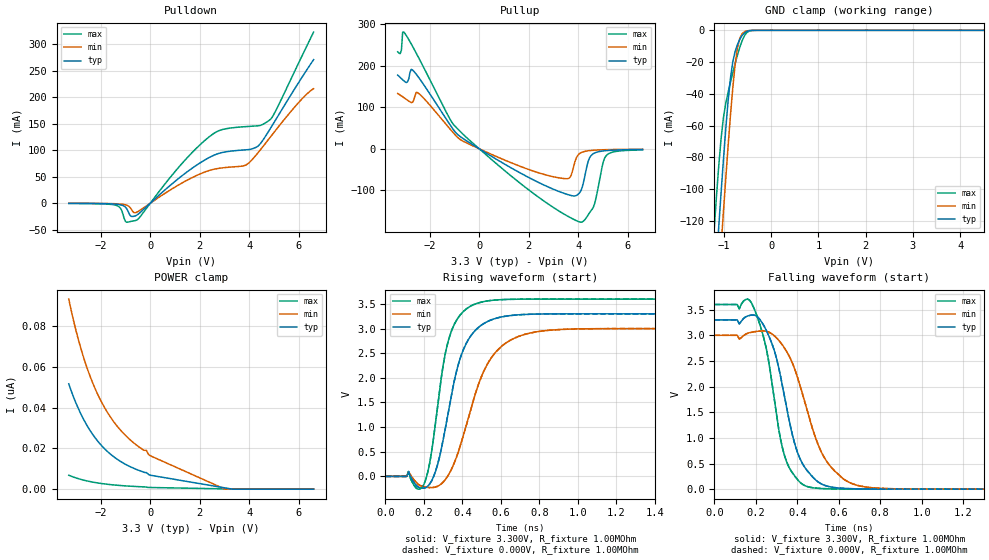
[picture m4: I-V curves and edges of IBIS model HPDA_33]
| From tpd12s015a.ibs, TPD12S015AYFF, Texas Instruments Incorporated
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[Model]   HPDA_33
Model_type   I/O
Vinl = 0.4V
Vinh = 1.0V
Vmeas = 1.500V
Vref = 0V
Cref =15pF
|   typ   min   max
|3-state
C_comp   1.7706pF   1.6054pF   2.0294pF
|pulldown
|C_comp   1.8194pF   1.5857pF   2.1620pF
|pullup
|C_comp   1.7863pF   1.5802pF   2.1259pF
[Voltage Range]   3.300V   3.000V   3.600V
|Junction temperature
[Temperature Range]   40.0   100.0   -40.0
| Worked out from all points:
|   slope of the pulldown table from 0 to 0.495 V, typ, clamps not added: 23.5 ohm
|   slope of the pullup table from 0 to 0.495 V, typ, clamps not added: 27.4 ohm
|   GND clamp passes 1 mA (typ) near -0.53 V on its own axis
|   falling waveform, V_fixture 3.300V, R_fixture 1.00MOhm: 20-80 % time 113ps typ, 151ps min, 91.6ps max; typ from 3.3 V to 0 V
|   rising waveform, V_fixture 3.300V, R_fixture 1.00MOhm: 20-80 % time 117ps typ, 162ps min, 89ps max; typ from 0 V to 3.3 V
|   rising waveform, V_fixture 0.000V, R_fixture 1.00MOhm: 20-80 % time 117ps typ, 162ps min, 89ps max; typ from 0 V to 3.3 V
|   falling waveform, V_fixture 0.000V, R_fixture 1.00MOhm: 20-80 % time 113ps typ, 151ps min, 91.6ps max; typ from 3.3 V to 0 V
|ambient temperature   25   85   -40
[Pulldown]
|   Voltage   I(typ)   I(min)   I(max)
-3.3V     -391uA     -285uA     -527uA
-1.41V    -1.95mA    -1.198mA   -3.883mA
-1.211V   -3.189mA   -1.754mA   -9.597mA
-961.8mV  -10.24mA   -3.813mA   -36.03mA
-762.8mV  -25.12mA   -12.16mA   -34.27mA
-514.1mV  -21.65mA   -16.26mA   -30.78mA
1.177V    47.93mA    35.3mA     69.48mA
2.371V    85.92mA    61.49mA    125mA
3.864V    100.7mA    72.03mA    144.6mA
4.361V    108.1mA    95.71mA    146.1mA
4.859V    141.5mA    125.2mA    158.4mA
6.6V      271mA      216.2mA    323.1mA
[GND Clamp]
|   Voltage   I(typ)   I(min)   I(max)
-3.3V     -1.186A    -1.22A     -1.144A
-1.211V   -169.5mA   -204.8mA   -127.5mA
-1.111V   -124.7mA   -159.3mA   -86.27mA
-1.061V   -103.1mA   -137mA     -68.77mA
-1.012V   -82.28mA   -115.2mA   -55.34mA
-912.1mV  -44.94mA   -73.37mA   -39.23mA
-812.6mV  -19.97mA   -36.53mA   -26.78mA
-713.1mV  -8.993mA   -11.15mA   -15.56mA
-663.3mV  -5.661mA   -5.005mA   -10.67mA
-563.8mV  -1.565mA   -864.6uA   -3.359mA
-364.8mV  -27.29uA   -19.88uA   -28.06uA
6.6V      0A         0A         0A
[Pullup]
|   Voltage   I(typ)   I(min)   I(max)
-3.3V     177.7mA    133.3mA    233.7mA
-3.151V   169.2mA    127.5mA    237.8mA
-3.051V   163.8mA    123.4mA    281.3mA
-2.703V   190mA      112.1mA    247.3mA
-2.454V   172mA      133.6mA    219.5mA
-1.061V   47.37mA    39.35mA    59.93mA
2.123V    -72.8mA    -52.26mA   -104.5mA
3.615V    -110.8mA   -70.96mA   -163.5mA
4.013V    -108.3mA   -13.48mA   -175.3mA
4.61V     -11.58mA   -3.356mA   -140.7mA
5.157V    -4.116mA   -1.942mA   -14.77mA
6.6V      -1.493mA   -912uA     -2.304mA
[POWER Clamp]
|   Voltage   I(typ)   I(min)   I(max)
-3.3V     51.61nA    93.19nA    6.828nA
-3.002V   42nA       77.47nA    5.491nA
-2.703V   34.29nA    64.67nA    4.449nA
-2.355V   27.23nA    52.76nA    3.519nA
-2.007V   21.8nA     43.44nA    2.82nA
-1.609V   17.12nA    35.23nA    2.228nA
-1.211V   13.63nA    28.98nA    1.791nA
-613.6mV  9.93nA     22.11nA    1.325nA
-165.8mV  8.144nA    19.03nA    1.055nA
-66.33mV  7.095nA    16.93nA    850.1pA
3.018V    614.7pA    0A         135.8pA
6.6V      0A         0A         0A
[Ramp]
R_load = 1.00MOhm
|   typ   min   max
dV/dt_r   1.980V/116.948ps   1.800V/161.908ps   2.160V/88.985ps
dV/dt_f   1.980V/113.008ps   1.800V/150.775ps   2.160V/91.589ps
[Falling Waveform]
V_fixture = 3.300V
V_fixture_min = 3.000V
V_fixture_max = 3.600V
R_fixture = 1.00MOhm
|   Time   V(typ)   V(min)   V(max)
0s        3.3V       3V         3.6V
180ps     3.395V     3.061V     3.621V
230ps     3.245V     3.085V     3.069V
270ps     2.915V     3.047V     2.283V
340ps     1.768V     2.739V     630.8mV
390ps     851.4mV    2.312V     243.2mV
440ps     402.2mV    1.644V     62.6mV
540ps     63.51mV    552.1mV    8.277mV
690ps     6.195mV    74.23mV    1.543mV
2ns       88.28uV    107.9uV    68.52uV
[Rising Waveform]
V_fixture = 3.300V
V_fixture_min = 3.000V
V_fixture_max = 3.600V
R_fixture = 1.00MOhm
|   Time   V(typ)   V(min)   V(max)
0s        88.28uV    107.9uV    68.52uV
120ps     92.2mV     88.43mV    99.35mV
200ps     -239.7mV   -209.5mV   -161.6mV
260ps     99.97mV    -216.8mV   1.076V
330ps     1.371V     46.89mV    2.798V
380ps     2.291V     513.4mV    3.233V
450ps     2.887V     1.446V     3.472V
560ps     3.192V     2.46V      3.577V
740ps     3.29V      2.899V     3.599V
2ns       3.3V       3V         3.6V
[Rising Waveform]
V_fixture = 0.000V
V_fixture_min = 0.000V
V_fixture_max = 0.000V
R_fixture = 1.00MOhm
|   Time   V(typ)   V(min)   V(max)
0s        12.66uV    15.32uV    11.71uV
120ps     92.12mV    88.34mV    99.3mV
200ps     -239.8mV   -209.7mV   -161.7mV
260ps     99.72mV    -217.1mV   1.076V
330ps     1.37V      46.55mV    2.798V
380ps     2.291V     513mV      3.233V
450ps     2.887V     1.446V     3.472V
560ps     3.192V     2.46V      3.577V
740ps     3.29V      2.899V     3.599V
2ns       3.3V       3V         3.6V
[Falling Waveform]
V_fixture = 0.000V
V_fixture_min = 0.000V
V_fixture_max = 0.000V
R_fixture = 1.00MOhm
|   Time   V(typ)   V(min)   V(max)
0s        3.3V       3V         3.6V
180ps     3.395V     3.061V     3.621V
230ps     3.245V     3.085V     3.069V
270ps     2.914V     3.046V     2.283V
340ps     1.768V     2.739V     630.7mV
390ps     851.2mV    2.311V     243.1mV
440ps     402.1mV    1.644V     62.54mV
540ps     63.42mV    552mV      8.22mV
690ps     6.119mV    74.11mV    1.486mV
2ns       12.66uV    15.32uV    11.71uV
